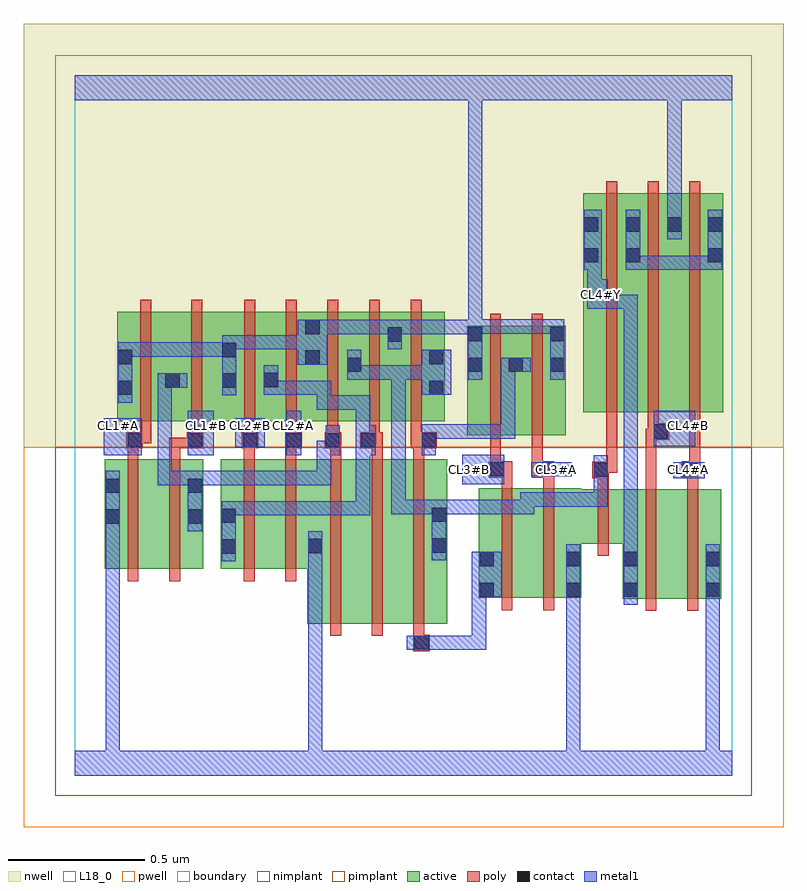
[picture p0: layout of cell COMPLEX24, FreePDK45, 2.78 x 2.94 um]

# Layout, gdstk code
import gdstk
lib = gdstk.Library(unit=1e-6, precision=1e-09)
def R(c, l, rs):  # rectangles x0, y0, x1, y1
    for r in rs: c.add(gdstk.rectangle(r[:2], r[2:], *l))
def A(c, l, x, y, w, h, nx, ny, dx, dy):  # array of equal rectangles
    R(c, l, [(x+i*dx, y+j*dy, x+i*dx+w, y+j*dy+h) for i in range(nx) for j in range(ny)])
active = (1, 0)
pwell = (2, 0)
nwell = (3, 0)
nimplant = (4, 0)
pimplant = (5, 0)
poly = (9, 0)
contact = (10, 0)
metal1 = (11, 0)
L18_0 = (18, 0)
boundary = (235, 0)

complex24 = lib.new_cell('COMPLEX24')
A(complex24, active, 0.534, 1.296, 0.212, 0.4, 3, 1, 0.152, 0)
R(complex24, active, [(0.848,0.556,1.028,1.156), (1.028,0.556,1.18,1.156), (1.18,0.556,1.36,1.156), (1.3,0.556,1.36,1.156), (2,0.648,2.06,1.048), (2,0.648,2.18,1.048), (2.18,0.648,2.36,1.048), (2.3,0.648,2.36,1.048), (1.474,0.65,1.534,1.05), (1.474,0.65,1.654,1.05), (1.654,0.65,1.85,1.05), (1.79,0.65,1.85,0.848), (0.108,0.756,0.168,1.156), (0.108,0.756,0.288,1.156), (0.288,0.756,0.468,1.156), (0.408,0.756,0.468,1.156), (0.532,0.756,0.592,1.156), (0.532,0.756,0.712,1.156), (0.712,0.756,0.908,1.156), (0.848,0.756,0.908,0.952), (1.79,0.848,2.06,1.048), (1.432,1.244,1.492,1.644), (1.432,1.244,1.64,1.644), (1.58,1.244,1.64,1.644), (1.58,1.244,1.792,1.644), (1.732,1.244,1.792,1.644), (0.154,1.296,0.386,1.696), (0.154,1.296,0.214,1.644), (0.326,1.296,0.386,1.696), (0.326,1.296,0.594,1.696), (0.686,1.296,0.746,1.696), (0.838,1.296,0.898,1.696), (0.99,1.296,1.198,1.696), (1.138,1.296,1.35,1.696), (1.29,1.296,1.35,1.696), (1.856,1.328,1.916,2.044), (1.856,1.328,2.068,2.128), (2.008,1.328,2.068,2.044), (2.008,1.328,2.22,2.128), (2.16,1.328,2.368,2.128), (2.16,1.328,2.22,2.128), (2.308,1.328,2.368,2.044), (0.534,1.414,0.594,1.644), (0.99,1.472,1.05,1.644), (1.138,1.582,1.198,1.644)])
R(complex24, pwell, [(-0.188,-0.188,2.588,1.2)])
R(complex24, nwell, [(-0.188,1.2,2.588,2.748)])
R(complex24, nimplant, [(-0.072,-0.072,2.472,1.2)])
R(complex24, pimplant, [(-0.072,1.2,2.472,2.632)])
A(complex24, poly, 0.932, 0.512, 0.04, 0.688, 3, 1, 0.152, 0)
A(complex24, poly, 0.932, 1.16, 0.04, 0.076, 3, 1, 0.152, 0)
A(complex24, poly, 0.618, 1.216, 0.04, 0.076, 5, 1, 0.152, 0)
A(complex24, poly, 0.618, 1.252, 0.04, 0.488, 5, 1, 0.152, 0)
A(complex24, poly, 1.94, 1.284, 0.04, 0.888, 3, 1, 0.152, 0)
R(complex24, poly, [(1.236,0.456,1.296,0.516), (1.236,0.476,1.276,0.552), (2.084,0.604,2.124,1.092), (2.236,0.604,2.276,1.092), (1.558,0.606,1.598,1.094), (1.71,0.606,1.75,1.094), (0.192,0.712,0.232,1.2), (0.344,0.712,0.384,1.2), (0.616,0.712,0.656,1.2), (0.768,0.712,0.808,1.2), (1.91,0.804,1.95,1.092), (1.91,1.052,1.95,1.128), (2.084,1.052,2.124,1.268), (2.236,1.052,2.276,1.13), (1.558,1.054,1.598,1.13), (1.71,1.054,1.75,1.13), (1.89,1.088,1.95,1.148), (1.512,1.09,1.598,1.15), (1.668,1.09,1.75,1.15), (1.71,1.09,1.75,1.13), (1.71,1.09,1.75,1.13), (2.216,1.09,2.276,1.15), (1.91,1.108,1.95,1.148), (1.91,1.108,1.98,1.148), (1.94,1.108,1.98,1.324), (1.516,1.11,1.556,1.15), (1.516,1.11,1.556,1.15), (1.516,1.11,1.556,1.24), (1.668,1.11,1.708,1.24), (2.236,1.11,2.276,1.15), (2.236,1.11,2.284,1.15), (2.244,1.11,2.284,1.324), (0.192,1.16,0.232,1.236), (0.344,1.16,0.384,1.236), (0.616,1.16,0.656,1.236), (0.768,1.16,0.808,1.236), (0.188,1.196,0.248,1.256), (0.344,1.196,0.448,1.236), (0.408,1.196,0.448,1.236), (0.408,1.196,0.468,1.256), (0.61,1.196,0.67,1.256), (0.616,1.196,0.656,1.236), (0.616,1.196,0.656,1.236), (0.768,1.196,0.808,1.236), (0.768,1.196,0.808,1.236), (0.768,1.196,0.828,1.256), (0.912,1.196,0.972,1.256), (1.042,1.196,1.124,1.256), (1.226,1.196,1.322,1.256), (1.236,1.196,1.276,1.236), (1.236,1.196,1.276,1.236), (1.516,1.2,1.556,1.688), (1.668,1.2,1.708,1.688), (0.208,1.216,0.248,1.256), (0.208,1.216,0.278,1.256), (0.238,1.216,0.278,1.292), (0.424,1.216,0.464,1.292), (0.922,1.216,0.962,1.256), (0.922,1.216,0.962,1.256), (1.074,1.216,1.114,1.256), (1.074,1.216,1.114,1.256), (2.084,1.228,2.132,1.268), (2.092,1.228,2.132,1.268), (2.092,1.228,2.17,1.288), (2.092,1.248,2.132,1.324), (0.238,1.252,0.278,1.74), (0.424,1.252,0.464,1.74)])
A(complex24, contact, 1.86, 1.988, 0.052, 0.052, 3, 1, 0.152, 0)
R(complex24, contact, [(1.24,0.46,1.292,0.512), (1.478,0.654,1.53,0.706), (1.794,0.654,1.846,0.706), (2.004,0.654,2.056,0.706), (2.304,0.654,2.356,0.706), (1.478,0.766,1.53,0.818), (1.794,0.766,1.846,0.818), (2.004,0.766,2.056,0.818), (2.304,0.766,2.356,0.818), (0.536,0.812,0.588,0.864), (0.852,0.814,0.904,0.866), (1.304,0.816,1.356,0.868), (0.112,0.922,0.164,0.974), (0.412,0.922,0.464,0.974), (0.536,0.924,0.588,0.976), (1.304,0.928,1.356,0.98), (0.112,1.034,0.164,1.086), (0.412,1.034,0.464,1.086), (1.894,1.092,1.946,1.144), (1.516,1.094,1.568,1.146), (1.694,1.094,1.746,1.146), (2.22,1.094,2.272,1.146), (0.192,1.2,0.244,1.252), (0.412,1.2,0.464,1.252), (0.614,1.2,0.666,1.252), (0.772,1.2,0.824,1.252), (0.916,1.2,0.968,1.252), (1.046,1.2,1.098,1.252), (1.266,1.2,1.318,1.252), (2.114,1.232,2.166,1.284), (0.158,1.392,0.21,1.444), (1.294,1.392,1.346,1.444), (0.33,1.418,0.382,1.47), (0.538,1.418,0.59,1.47), (0.69,1.42,0.742,1.472), (0.994,1.476,1.046,1.528), (1.436,1.476,1.488,1.528), (1.584,1.476,1.636,1.528), (1.736,1.476,1.788,1.528), (0.842,1.502,0.894,1.554), (0.158,1.504,0.21,1.556), (1.294,1.504,1.346,1.556), (0.538,1.53,0.59,1.582), (1.142,1.586,1.194,1.638), (1.436,1.588,1.488,1.64), (1.736,1.588,1.788,1.64), (0.842,1.614,0.894,1.666), (1.86,1.876,1.912,1.928), (2.012,1.876,2.064,1.928), (2.312,1.876,2.364,1.928), (2.312,1.988,2.364,2.04)])
A(complex24, metal1, 1.026, 1.228, 0.052, 0.052, 1, 3, 0, 0.11)
R(complex24, metal1, [(0,0,2.4,0.092), (0.112,0.04,0.164,0.092), (0.112,0.04,0.164,0.092), (0.112,0.04,0.164,0.092), (0.112,0.04,0.164,0.092), (0.112,0.04,0.164,0.092), (0.112,0.04,0.164,0.092), (0.112,0.04,0.164,0.092), (0.112,0.04,0.164,0.092), (0.112,0.04,0.164,0.092), (0.112,0.04,0.164,0.092), (0.112,0.04,0.164,0.092), (0.112,0.04,0.164,0.092), (0.112,0.04,0.164,0.946), (0.852,0.04,0.904,0.092), (0.852,0.04,0.904,0.092), (0.852,0.04,0.904,0.092), (0.852,0.04,0.904,0.092), (0.852,0.04,0.904,0.092), (0.852,0.04,0.904,0.092), (0.852,0.04,0.904,0.838), (1.794,0.04,1.846,0.678), (2.304,0.04,2.356,0.092), (2.304,0.04,2.356,0.092), (2.304,0.04,2.356,0.678), (1.212,0.46,1.32,0.512), (1.268,0.46,1.32,0.512), (1.268,0.46,1.32,0.512), (1.268,0.46,1.502,0.512), (1.45,0.46,1.502,0.512), (1.45,0.46,1.502,0.512), (1.45,0.46,1.502,0.512), (1.45,0.46,1.502,0.706), (1.794,0.626,1.846,0.846), (1.794,0.626,1.846,0.678), (1.794,0.626,1.846,0.678), (1.794,0.626,1.846,0.678), (1.794,0.626,1.846,0.678), (1.794,0.626,1.846,0.678), (1.794,0.626,1.846,0.678), (1.794,0.626,1.846,0.678), (1.794,0.626,1.846,0.678), (1.794,0.626,1.846,0.678), (1.794,0.626,1.846,0.678), (1.794,0.626,1.846,0.678), (1.794,0.626,1.846,0.678), (2.004,0.626,2.056,0.846), (2.304,0.626,2.356,0.846), (2.304,0.626,2.356,0.678), (2.304,0.626,2.356,0.678), (2.304,0.626,2.356,0.678), (2.304,0.626,2.356,0.678), (2.304,0.626,2.356,0.678), (2.304,0.626,2.356,0.678), (2.304,0.626,2.356,0.678), (2.304,0.626,2.356,0.678), (2.304,0.626,2.356,0.678), (2.304,0.626,2.356,0.678), (1.45,0.654,1.502,0.706), (1.45,0.654,1.502,0.706), (1.45,0.654,1.558,0.818), (0.536,0.784,0.588,1.004), (0.852,0.786,0.904,0.838), (0.852,0.786,0.904,0.838), (0.852,0.786,0.904,0.894), (1.304,0.788,1.356,1.008), (2.004,0.794,2.056,1.758), (0.112,0.894,0.164,1.114), (0.412,0.894,0.464,1.114), (0.536,0.952,0.588,1.004), (0.536,0.952,0.588,1.004), (0.536,0.952,0.756,1.004), (0.704,0.952,0.756,1.004), (0.704,0.952,0.756,1.004), (0.704,0.952,0.756,1.004), (0.704,0.952,0.936,1.004), (0.884,0.952,0.936,1.004), (0.884,0.952,0.936,1.004), (0.884,0.952,0.936,1.004), (0.884,0.952,1.078,1.004), (1.026,0.952,1.078,1.004), (1.026,0.952,1.078,1.28), (1.156,0.956,1.208,1.008), (1.156,0.956,1.208,1.008), (1.156,0.956,1.208,1.008), (1.156,0.956,1.208,1.008), (1.156,0.956,1.208,1.008), (1.156,0.956,1.356,1.008), (1.156,0.956,1.208,1.5), (1.304,0.956,1.498,1.008), (1.446,0.956,1.498,1.008), (1.446,0.956,1.498,1.008), (1.446,0.956,1.498,1.008), (1.446,0.956,1.678,1.008), (1.626,0.956,1.678,1.008), (1.626,0.956,1.678,1.036), (1.626,0.984,1.678,1.036), (1.626,0.984,1.678,1.036), (1.626,0.984,1.678,1.036), (1.626,0.984,1.836,1.036), (1.784,0.984,1.836,1.036), (1.784,0.984,1.946,1.036), (1.894,0.984,1.946,1.116), (0.302,1.062,0.354,1.114), (0.302,1.062,0.354,1.114), (0.302,1.062,0.354,1.114), (0.302,1.062,0.464,1.114), (0.302,1.062,0.354,1.47), (0.412,1.062,0.464,1.114), (0.412,1.062,0.464,1.114), (0.412,1.062,0.464,1.114), (0.412,1.062,0.464,1.114), (0.412,1.062,0.574,1.114), (0.522,1.062,0.574,1.114), (0.522,1.062,0.574,1.114), (0.522,1.062,0.574,1.114), (0.522,1.062,0.756,1.114), (0.704,1.062,0.756,1.114), (0.704,1.062,0.756,1.114), (0.704,1.062,0.756,1.114), (0.704,1.062,0.936,1.114), (0.884,1.062,0.936,1.224), (1.894,1.064,1.946,1.116), (1.894,1.064,1.946,1.172), (1.414,1.066,1.568,1.174), (2.186,1.088,2.3,1.146), (1.666,1.094,1.814,1.146), (0.106,1.172,0.244,1.306), (0.412,1.172,0.506,1.334), (0.772,1.172,0.826,1.334), (0.884,1.172,0.968,1.224), (0.916,1.172,0.968,1.28), (1.046,1.172,1.098,1.28), (1.266,1.172,1.318,1.28), (0.586,1.2,0.694,1.306), (2.114,1.204,2.266,1.334), (1.026,1.228,1.098,1.28), (1.026,1.228,1.078,1.39), (1.266,1.228,1.318,1.28), (1.266,1.228,1.318,1.284), (1.266,1.232,1.498,1.284), (1.446,1.232,1.498,1.284), (1.446,1.232,1.498,1.284), (1.446,1.232,1.498,1.284), (1.446,1.232,1.608,1.284), (1.556,1.232,1.608,1.284), (1.556,1.232,1.608,1.528), (0.884,1.338,0.936,1.39), (0.884,1.338,0.936,1.39), (0.884,1.338,0.936,1.39), (0.884,1.338,1.078,1.39), (0.884,1.338,0.936,1.444), (0.158,1.364,0.21,1.584), (0.538,1.39,0.59,1.61), (0.69,1.392,0.742,1.444), (0.69,1.392,0.742,1.444), (0.69,1.392,0.742,1.5), (0.69,1.392,0.936,1.444), (0.884,1.392,0.936,1.444), (1.266,1.392,1.374,1.556), (0.302,1.418,0.41,1.47), (0.994,1.448,1.046,1.556), (0.994,1.448,1.078,1.5), (1.026,1.448,1.208,1.5), (1.156,1.448,1.208,1.5), (1.156,1.448,1.208,1.5), (1.156,1.448,1.208,1.5), (1.156,1.448,1.208,1.5), (1.156,1.448,1.208,1.5), (1.156,1.448,1.318,1.5), (1.436,1.448,1.488,1.668), (1.736,1.448,1.788,1.668), (1.556,1.476,1.664,1.528), (0.814,1.502,0.922,1.666), (0.158,1.532,0.21,1.584), (0.158,1.532,0.21,1.584), (0.158,1.532,0.354,1.584), (0.302,1.532,0.354,1.584), (0.302,1.532,0.464,1.584), (0.412,1.532,0.464,1.584), (0.412,1.532,0.464,1.584), (0.412,1.532,0.464,1.584), (0.412,1.532,0.59,1.584), (0.538,1.558,0.59,1.61), (0.538,1.558,0.59,1.61), (0.538,1.558,0.756,1.61), (0.704,1.558,0.756,1.61), (0.704,1.558,0.756,1.61), (0.704,1.558,0.756,1.61), (0.704,1.558,0.866,1.61), (1.142,1.558,1.194,1.666), (0.87,1.614,0.936,1.666), (0.884,1.614,0.936,1.666), (0.884,1.614,1.078,1.666), (1.026,1.614,1.078,1.666), (1.026,1.614,1.078,1.666), (1.026,1.614,1.078,1.666), (1.026,1.614,1.194,1.666), (1.142,1.614,1.356,1.666), (1.304,1.614,1.356,1.666), (1.304,1.614,1.356,1.666), (1.304,1.614,1.356,1.666), (1.304,1.614,1.488,1.666), (1.436,1.616,1.488,1.668), (1.436,1.616,1.488,1.668), (1.436,1.616,1.678,1.668), (1.436,1.616,1.488,1.868), (1.626,1.616,1.678,1.668), (1.626,1.616,1.678,1.668), (1.626,1.616,1.678,1.668), (1.626,1.616,1.788,1.668), (1.872,1.706,1.946,1.814), (1.894,1.706,1.946,1.758), (1.894,1.706,1.946,1.758), (1.894,1.706,2.056,1.758), (2.004,1.706,2.056,1.758), (2.004,1.706,2.056,1.758), (2.004,1.706,2.056,1.758), (1.872,1.762,1.924,1.9), (1.436,1.816,1.488,1.868), (1.436,1.816,1.488,1.868), (1.436,1.816,1.488,1.868), (1.436,1.816,1.488,1.868), (1.436,1.816,1.488,1.868), (1.436,1.816,1.488,1.868), (1.436,1.816,1.488,1.868), (1.436,1.816,1.488,1.868), (1.436,1.816,1.488,1.868), (1.436,1.816,1.488,1.868), (1.436,1.816,1.488,1.868), (1.436,1.816,1.488,2.52), (1.86,1.848,1.924,2.068), (2.012,1.848,2.064,2.068), (2.012,1.848,2.064,1.9), (2.012,1.848,2.064,1.9), (2.012,1.848,2.246,1.9), (2.194,1.848,2.364,1.9), (2.194,1.848,2.246,1.9), (2.194,1.848,2.246,1.9), (2.194,1.848,2.246,1.9), (2.312,1.848,2.364,2.068), (2.164,1.96,2.216,2.068), (2.164,2.016,2.216,2.068), (2.164,2.016,2.216,2.068), (2.164,2.016,2.216,2.068), (2.164,2.016,2.216,2.068), (2.164,2.016,2.216,2.068), (2.164,2.016,2.216,2.068), (2.164,2.016,2.216,2.52), (0,2.468,2.4,2.56), (1.436,2.468,1.488,2.52), (1.436,2.468,1.488,2.52), (1.436,2.468,1.488,2.52), (1.436,2.468,1.488,2.52), (2.164,2.468,2.216,2.52), (2.164,2.468,2.216,2.52)])
A(complex24, L18_0, 0.454, 1.254, 0.052, 0.052, 3, 1, 0.16, 0)
R(complex24, L18_0, [(0,0,2.4,0.092), (0.112,0.04,0.164,0.092), (0.112,0.04,0.164,0.092), (0.112,0.04,0.164,0.092), (0.112,0.04,0.164,0.092), (0.112,0.04,0.164,0.092), (0.112,0.04,0.164,0.092), (0.112,0.04,0.164,0.092), (0.112,0.04,0.164,0.092), (0.112,0.04,0.164,0.092), (0.112,0.04,0.164,0.092), (0.112,0.04,0.164,0.092), (0.112,0.04,0.164,0.092), (0.112,0.04,0.164,0.946), (0.852,0.04,0.904,0.092), (0.852,0.04,0.904,0.092), (0.852,0.04,0.904,0.092), (0.852,0.04,0.904,0.092), (0.852,0.04,0.904,0.092), (0.852,0.04,0.904,0.092), (0.852,0.04,0.904,0.838), (1.794,0.04,1.846,0.678), (2.304,0.04,2.356,0.092), (2.304,0.04,2.356,0.092), (2.304,0.04,2.356,0.678), (1.794,0.626,1.846,0.678), (1.794,0.626,1.846,0.678), (1.794,0.626,1.846,0.678), (1.794,0.626,1.846,0.678), (1.794,0.626,1.846,0.678), (1.794,0.626,1.846,0.678), (1.794,0.626,1.846,0.678), (1.794,0.626,1.846,0.678), (1.794,0.626,1.846,0.678), (1.794,0.626,1.846,0.678), (1.794,0.626,1.846,0.678), (1.794,0.626,1.846,0.678), (1.794,0.626,1.846,0.846), (2.004,0.626,2.056,0.846), (2.304,0.626,2.356,0.678), (2.304,0.626,2.356,0.678), (2.304,0.626,2.356,0.678), (2.304,0.626,2.356,0.678), (2.304,0.626,2.356,0.678), (2.304,0.626,2.356,0.678), (2.304,0.626,2.356,0.678), (2.304,0.626,2.356,0.678), (2.304,0.626,2.356,0.678), (2.304,0.626,2.356,0.678), (2.304,0.626,2.356,0.846), (0.852,0.786,0.904,0.838), (0.852,0.786,0.904,0.838), (0.852,0.786,0.904,0.894), (2.004,0.794,2.056,1.758), (0.112,0.894,0.164,1.114), (1.414,1.066,1.568,1.174), (2.186,1.088,2.3,1.146), (1.414,1.094,1.466,1.146), (1.666,1.094,1.814,1.146), (1.734,1.094,1.786,1.146), (2.214,1.094,2.266,1.146), (0.106,1.172,0.244,1.306), (0.412,1.172,0.506,1.334), (0.772,1.172,0.826,1.334), (0.586,1.2,0.694,1.306), (2.114,1.204,2.266,1.334), (0.134,1.254,0.186,1.306), (2.214,1.254,2.266,1.306), (0.158,1.364,0.21,1.584), (0.538,1.39,0.59,1.61), (1.436,1.448,1.488,1.668), (1.736,1.448,1.788,1.668), (0.814,1.502,0.922,1.666), (0.158,1.532,0.21,1.584), (0.158,1.532,0.21,1.584), (0.158,1.532,0.354,1.584), (0.302,1.532,0.354,1.584), (0.302,1.532,0.464,1.584), (0.412,1.532,0.464,1.584), (0.412,1.532,0.464,1.584), (0.412,1.532,0.464,1.584), (0.412,1.532,0.59,1.584), (0.538,1.558,0.59,1.61), (0.538,1.558,0.59,1.61), (0.538,1.558,0.756,1.61), (0.704,1.558,0.756,1.61), (0.704,1.558,0.756,1.61), (0.704,1.558,0.756,1.61), (0.704,1.558,0.866,1.61), (1.142,1.558,1.194,1.666), (0.87,1.614,0.936,1.666), (0.884,1.614,0.936,1.666), (0.884,1.614,1.078,1.666), (1.026,1.614,1.078,1.666), (1.026,1.614,1.078,1.666), (1.026,1.614,1.078,1.666), (1.026,1.614,1.194,1.666), (1.142,1.614,1.356,1.666), (1.304,1.614,1.356,1.666), (1.304,1.614,1.356,1.666), (1.304,1.614,1.356,1.666), (1.304,1.614,1.488,1.666), (1.436,1.616,1.488,1.668), (1.436,1.616,1.488,1.668), (1.436,1.616,1.488,1.868), (1.436,1.616,1.678,1.668), (1.626,1.616,1.678,1.668), (1.626,1.616,1.678,1.668), (1.626,1.616,1.678,1.668), (1.626,1.616,1.788,1.668), (1.872,1.706,1.946,1.814), (1.894,1.706,1.946,1.758), (1.894,1.706,1.946,1.758), (1.894,1.706,2.056,1.758), (2.004,1.706,2.056,1.758), (2.004,1.706,2.056,1.758), (2.004,1.706,2.056,1.758), (1.894,1.734,1.946,1.786), (1.872,1.762,1.924,1.9), (1.436,1.816,1.488,1.868), (1.436,1.816,1.488,1.868), (1.436,1.816,1.488,1.868), (1.436,1.816,1.488,1.868), (1.436,1.816,1.488,1.868), (1.436,1.816,1.488,1.868), (1.436,1.816,1.488,1.868), (1.436,1.816,1.488,1.868), (1.436,1.816,1.488,1.868), (1.436,1.816,1.488,1.868), (1.436,1.816,1.488,1.868), (1.436,1.816,1.488,2.52), (1.86,1.848,1.924,2.068), (2.164,1.96,2.216,2.068), (2.164,2.016,2.216,2.068), (2.164,2.016,2.216,2.068), (2.164,2.016,2.216,2.068), (2.164,2.016,2.216,2.068), (2.164,2.016,2.216,2.068), (2.164,2.016,2.216,2.068), (2.164,2.016,2.216,2.52), (0,2.468,2.4,2.56), (1.436,2.468,1.488,2.52), (1.436,2.468,1.488,2.52), (1.436,2.468,1.488,2.52), (1.436,2.468,1.488,2.52), (2.164,2.468,2.216,2.52), (2.164,2.468,2.216,2.52)])
R(complex24, boundary, [(0,0,2.4,2.56)])
complex24.add(gdstk.Label('CL1#A', (0.16,1.28), layer=11, texttype=0))
complex24.add(gdstk.Label('CL1#B', (0.48,1.28), layer=11, texttype=0))
complex24.add(gdstk.Label('CL2#A', (0.8,1.28), layer=11, texttype=0))
complex24.add(gdstk.Label('CL2#B', (0.64,1.28), layer=11, texttype=0))
complex24.add(gdstk.Label('CL3#A', (1.76,1.12), layer=11, texttype=0))
complex24.add(gdstk.Label('CL3#B', (1.44,1.12), layer=11, texttype=0))
complex24.add(gdstk.Label('CL4#A', (2.24,1.12), layer=11, texttype=0))
complex24.add(gdstk.Label('CL4#B', (2.24,1.28), layer=11, texttype=0))
complex24.add(gdstk.Label('CL4#Y', (1.92,1.76), layer=11, texttype=0))

lib.write_gds('COMPLEX24.gds')
